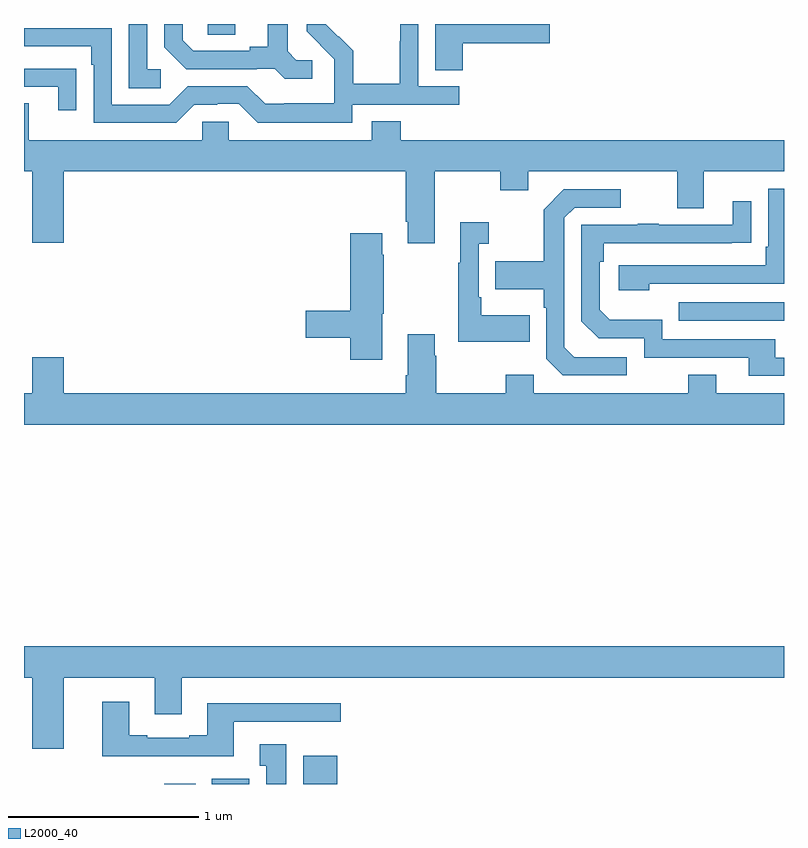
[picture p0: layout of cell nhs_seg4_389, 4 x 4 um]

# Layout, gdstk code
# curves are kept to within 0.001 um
import gdstk
lib = gdstk.Library(unit=1e-6, precision=1e-09)
def R(c, l, rs):  # rectangles x0, y0, x1, y1
    for r in rs: c.add(gdstk.rectangle(r[:2], r[2:], *l))
def P(c, l, *ps):  # polygons
    for p in ps: c.add(gdstk.Polygon(p, *l))
L2000_40 = (2000, 40)

nhs_seg4_389 = lib.new_cell('nhs_seg4_389')
R(nhs_seg4_389, L2000_40, [(129.737,822.9,129.904,822.901), (129.989,822.9,130.186,822.928), (130.469,822.9,130.648,823.048), (132.445,825.339,133,825.435), (129.966,826.843,130.111,826.9)])
P(nhs_seg4_389, L2000_40, [(130.516,826.71),(130.434,826.71),(130.387,826.757),(130.387,826.9),(130.283,826.9),(130.283,826.781),(130.187,826.781),(130.187,826.758),(129.892,826.758),(129.835,826.815),(129.835,826.9),(129.738,826.9),(129.738,826.778),(129.854,826.662),(130.226,826.662),(130.226,826.665),(130.32,826.665),(130.372,826.613),(130.516,826.613)],
  [(131.309,826.799),(131.767,826.799),(131.767,826.9),(131.165,826.9),(131.165,826.657),(131.309,826.657)],
  [(130.728,826.476),(131.29,826.476),(131.29,826.572),(131.076,826.572),(131.076,826.9),(130.98,826.9),(130.98,826.808),(130.978,826.808),(130.978,826.585),(130.733,826.585),(130.733,826.759),(130.656,826.836),(130.653,826.833),(130.587,826.9),(130.488,826.9),(130.488,826.862),(130.634,826.714),(130.634,826.617),(130.632,826.617),(130.632,826.483),(130.369,826.483),(130.369,826.479),(130.269,826.479),(130.176,826.572),(129.861,826.572),(129.765,826.476),(129.462,826.476),(129.462,826.878),(129,826.878),(129,826.782),(129.353,826.782),(129.353,826.685),(129.366,826.685),(129.366,826.38),(129.801,826.38),(129.897,826.476),(130.016,826.476),(130.016,826.479),(130.131,826.479),(130.231,826.379),(130.728,826.379)],
  [(129.721,826.662),(129.648,826.662),(129.648,826.9),(129.552,826.9),(129.552,826.561),(129.721,826.561)],
  [(129.275,826.664),(129.173,826.664),(129.173,826.665),(129,826.665),(129,826.569),(129.179,826.569),(129.179,826.446),(129.275,826.446)],
  [(131.161,826.124),(131.506,826.124),(131.506,826.025),(131.653,826.025),(131.653,826.124),(132.437,826.124),(132.437,825.93),(132.577,825.93),(132.577,826.124),(133,826.124),(133,826.288),(130.982,826.288),(130.982,826.387),(130.829,826.387),(130.829,826.288),(130.077,826.288),(130.077,826.386),(129.939,826.386),(129.939,826.288),(129.025,826.288),(129.025,826.483),(129,826.483),(129,826.124),(129.044,826.124),(129.044,825.75),(129.208,825.75),(129.208,826.124),(131.009,826.124),(131.009,825.859),(131.021,825.859),(131.021,825.747),(131.161,825.747)],
  [(132.29,825.534),(133,825.534),(133,826.032),(132.918,826.032),(132.918,825.727),(132.905,825.727),(132.905,825.63),(132.129,825.63),(132.129,825.5),(132.29,825.5)],
  [(132.172,825.147),(131.895,825.147),(131.844,825.198),(131.844,825.879),(131.898,825.933),(132.142,825.933),(132.142,826.029),(131.841,826.029),(131.736,825.923),(131.736,825.651),(131.479,825.651),(131.479,825.503),(131.736,825.503),(131.736,825.407),(131.748,825.407),(131.748,825.138),(131.835,825.051),(132.172,825.051)],
  [(133,825.144),(132.955,825.144),(132.955,825.24),(132.36,825.24),(132.36,825.343),(132.083,825.343),(132.03,825.396),(132.03,825.65),(132.05,825.65),(132.05,825.747),(132.827,825.748),(132.827,825.967),(132.731,825.967),(132.731,825.843),(132.341,825.843),(132.341,825.848),(132.229,825.848),(132.229,825.843),(131.934,825.843),(131.934,825.336),(132.024,825.246),(132.264,825.246),(132.264,825.144),(132.815,825.144),(132.815,825.048),(133,825.048)],
  [(131.663,825.367),(131.407,825.367),(131.407,825.463),(131.394,825.463),(131.394,825.743),(131.446,825.743),(131.446,825.856),(131.297,825.856),(131.297,825.643),(131.286,825.643),(131.286,825.227),(131.663,825.227)],
  [(130.885,825.375),(130.893,825.375),(130.893,825.686),(130.885,825.686),(130.885,825.799),(130.718,825.799),(130.718,825.392),(130.482,825.392),(130.482,825.25),(130.718,825.25),(130.718,825.132),(130.885,825.132)],
  [(133,824.956),(132.643,824.956),(132.643,825.055),(132.496,825.055),(132.496,824.956),(131.682,824.956),(131.682,825.055),(131.536,825.055),(131.536,824.956),(131.169,824.956),(131.169,825.155),(131.161,825.155),(131.161,825.268),(131.021,825.268),(131.021,825.052),(131.009,825.052),(131.009,824.956),(129.208,824.956),(129.208,825.145),(129.044,825.145),(129.044,824.956),(129,824.956),(129,824.792),(133,824.792)],
  [(129.208,823.46),(129.689,823.46),(129.689,823.266),(129.829,823.266),(129.829,823.46),(133,823.46),(133,823.624),(129,823.624),(129,823.46),(129.044,823.46),(129.044,823.086),(129.208,823.086)],
  [(130.105,823.227),(130.666,823.227),(130.666,823.324),(129.965,823.324),(129.965,823.156),(129.869,823.156),(129.869,823.143),(129.649,823.143),(129.649,823.156),(129.553,823.156),(129.553,823.333),(129.413,823.333),(129.413,823.046),(130.105,823.046)],
  [(130.381,823.108),(130.241,823.108),(130.241,822.995),(130.274,822.995),(130.274,822.9),(130.381,822.9)])

lib.write_gds('nhs_seg4_389.gds')
